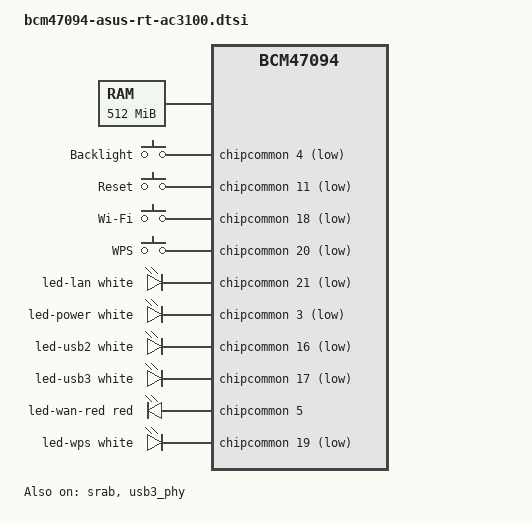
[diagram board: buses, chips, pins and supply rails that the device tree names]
// SPDX-License-Identifier: GPL-2.0-or-later OR MIT
/*
 * Author: Arınç ÜNAL <arinc.unal@arinc9.com>
 */

#include "bcm47094.dtsi"
#include "bcm5301x-nand-cs0-bch8.dtsi"

#include <dt-bindings/leds/common.h>

/ {
	memory@0 {
		reg = <0x00000000 0x08000000>,
		      <0x88000000 0x18000000>;
		device_type = "memory";
	};

	nvram@1c080000 {
		compatible = "brcm,nvram";
		reg = <0x1c080000 0x00180000>;
	};

	gpio-keys {
		compatible = "gpio-keys";

		button-led {
			label = "Backlight";
			linux,code = <KEY_BRIGHTNESS_ZERO>;
			gpios = <&chipcommon 4 GPIO_ACTIVE_LOW>;
		};

		button-reset {
			label = "Reset";
			linux,code = <KEY_RESTART>;
			gpios = <&chipcommon 11 GPIO_ACTIVE_LOW>;
		};

		button-wifi {
			label = "Wi-Fi";
			linux,code = <KEY_RFKILL>;
			gpios = <&chipcommon 18 GPIO_ACTIVE_LOW>;
		};

		button-wps {
			label = "WPS";
			linux,code = <KEY_WPS_BUTTON>;
			gpios = <&chipcommon 20 GPIO_ACTIVE_LOW>;
		};
	};

	leds {
		compatible = "gpio-leds";

		led-lan {
			color = <LED_COLOR_ID_WHITE>;
			function = LED_FUNCTION_LAN;
			gpios = <&chipcommon 21 GPIO_ACTIVE_LOW>;
		};

		led-power {
			color = <LED_COLOR_ID_WHITE>;
			function = LED_FUNCTION_POWER;
			gpios = <&chipcommon 3 GPIO_ACTIVE_LOW>;
			linux,default-trigger = "default-on";
		};

		led-usb2 {
			color = <LED_COLOR_ID_WHITE>;
			function = LED_FUNCTION_USB;
			function-enumerator = <1>;
			gpios = <&chipcommon 16 GPIO_ACTIVE_LOW>;
			trigger-sources = <&ehci_port2>;
			linux,default-trigger = "usbport";
		};

		led-usb3 {
			color = <LED_COLOR_ID_WHITE>;
			function = LED_FUNCTION_USB;
			function-enumerator = <2>;
			gpios = <&chipcommon 17 GPIO_ACTIVE_LOW>;
			trigger-sources = <&ehci_port1>, <&xhci_port1>;
			linux,default-trigger = "usbport";
		};

		led-wan-red {
			color = <LED_COLOR_ID_RED>;
			function = LED_FUNCTION_WAN;
			gpios = <&chipcommon 5 GPIO_ACTIVE_HIGH>;
		};

		led-wps {
			color = <LED_COLOR_ID_WHITE>;
			function = LED_FUNCTION_WPS;
			gpios = <&chipcommon 19 GPIO_ACTIVE_LOW>;
		};
	};
};

&nandcs {
	partitions {
		compatible = "fixed-partitions";
		#address-cells = <1>;
		#size-cells = <1>;

		partition@0 {
			reg = <0x00000000 0x00080000>;
			label = "boot";
			read-only;
		};

		partition@80000 {
			reg = <0x00080000 0x00180000>;
			label = "nvram";
		};

		partition@200000 {
			compatible = "brcm,trx";
			reg = <0x00200000 0x07e00000>;
			label = "firmware";
		};
	};
};

&srab {
	status = "okay";

	ports {
		port@0 {
			label = "lan4";
		};

		port@1 {
			label = "lan3";
		};

		port@2 {
			label = "lan2";
		};

		port@3 {
			label = "lan1";
		};

		port@4 {
			label = "wan";
		};

		port@5 {
			label = "cpu";
		};

		port@7 {
			label = "cpu";
		};

		port@8 {
			label = "cpu";
		};
	};
};

&usb2 {
	vcc-gpio = <&chipcommon 9 GPIO_ACTIVE_HIGH>;
};

&usb3_phy {
	status = "okay";
};
